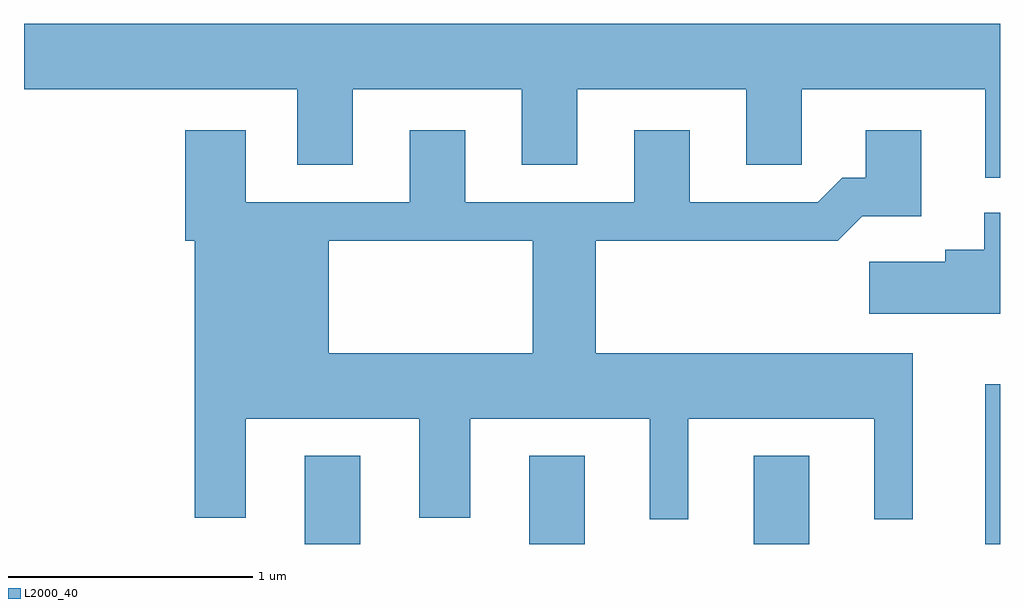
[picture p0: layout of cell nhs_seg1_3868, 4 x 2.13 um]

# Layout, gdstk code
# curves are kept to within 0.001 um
import gdstk
lib = gdstk.Library(unit=1e-6, precision=1e-09)
def R(c, l, rs):  # rectangles x0, y0, x1, y1
    for r in rs: c.add(gdstk.rectangle(r[:2], r[2:], *l))
def A(c, l, x, y, w, h, nx, ny, dx, dy):  # array of equal rectangles
    R(c, l, [(x+i*dx, y+j*dy, x+i*dx+w, y+j*dy+h) for i in range(nx) for j in range(ny)])
def P(c, l, *ps):  # polygons
    for p in ps: c.add(gdstk.Polygon(p, *l))
L2000_40 = (2000, 40)

nhs_seg1_3868 = lib.new_cell('nhs_seg1_3868')
A(nhs_seg1_3868, L2000_40, 302.761, 897.712, 0.228, 0.362, 3, 1, 0.92, 0)
R(nhs_seg1_3868, L2000_40, [(305.551,897.712,305.611,898.368)])
P(nhs_seg1_3868, L2000_40, [(305.611,899.844),(301.611,899.844),(301.611,899.576),(302.731,899.576),(302.731,899.266),(302.959,899.266),(302.959,899.576),(303.651,899.576),(303.651,899.266),(303.879,899.266),(303.879,899.576),(304.571,899.576),(304.571,899.266),(304.799,899.266),(304.799,899.576),(305.551,899.576),(305.551,899.213),(305.611,899.213)],
  [(302.519,897.821),(302.519,898.226),(303.231,898.226),(303.231,897.821),(303.439,897.821),(303.439,898.226),(304.176,898.226),(304.176,897.813),(304.334,897.813),(304.334,898.226),(305.096,898.226),(305.096,897.813),(305.254,897.813),(305.254,898.494),(303.954,898.494),(303.954,898.956),(304.947,898.956),(305.047,899.056),(305.289,899.056),(305.289,899.409),(305.061,899.409),(305.061,899.214),(304.964,899.214),(304.864,899.114),(304.339,899.114),(304.339,899.409),(304.111,899.409),(304.111,899.114),(303.419,899.114),(303.419,899.409),(303.191,899.409),(303.191,899.114),(302.519,899.114),(302.519,899.409),(302.271,899.409),(302.271,898.956),(302.311,898.956),(302.311,898.494),(302.859,898.494),(302.859,898.956),(303.696,898.956),(303.696,898.494),(302.311,898.494),(302.311,897.821)],
  [(305.611,899.069),(305.546,899.069),(305.546,898.919),(305.386,898.919),(305.386,898.869),(305.076,898.869),(305.076,898.656),(305.611,898.656)])

lib.write_gds('nhs_seg1_3868.gds')
